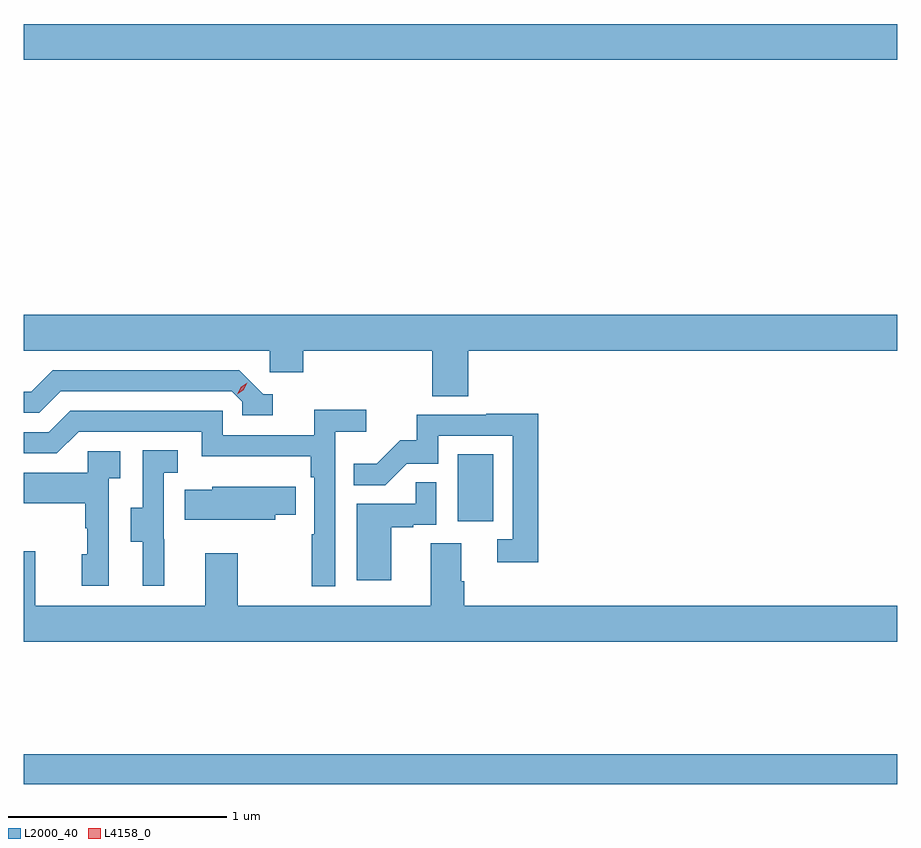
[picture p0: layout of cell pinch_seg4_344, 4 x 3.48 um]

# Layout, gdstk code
import gdstk
lib = gdstk.Library(unit=1e-6, precision=1e-09)
def R(c, l, rs):  # rectangles x0, y0, x1, y1
    for r in rs: c.add(gdstk.rectangle(r[:2], r[2:], *l))
def P(c, l, *ps):  # polygons
    for p in ps: c.add(gdstk.Polygon(p, *l))
L2000_40 = (2000, 40)
L4158_0 = (4158, 0)

pinch_seg4_344 = lib.new_cell('pinch_seg4_344')
R(pinch_seg4_344, L2000_40, [(1004.977,794.836,1008.977,794.972), (1006.964,796.038,1007.128,796.345), (1004.977,798.152,1008.977,798.316)])
P(pinch_seg4_344, L2000_40, [(1007.012,796.82),(1008.977,796.82),(1008.977,796.984),(1004.977,796.984),(1004.977,796.82),(1006.104,796.82),(1006.104,796.722),(1006.256,796.722),(1006.256,796.82),(1006.847,796.82),(1006.847,796.612),(1007.012,796.612)],
  [(1006.117,796.62),(1006.074,796.62),(1005.963,796.731),(1005.11,796.731),(1005.011,796.632),(1004.977,796.632),(1004.977,796.536),(1005.048,796.536),(1005.147,796.635),(1005.93,796.635),(1005.978,796.587),(1005.978,796.524),(1006.117,796.524)],
  [(1006.404,796.448),(1006.546,796.448),(1006.546,796.55),(1006.307,796.55),(1006.307,796.434),(1005.888,796.434),(1005.888,796.545),(1005.191,796.545),(1005.092,796.446),(1004.977,796.446),(1004.977,796.35),(1005.129,796.35),(1005.228,796.449),(1005.792,796.449),(1005.792,796.337),(1006.291,796.337),(1006.291,796.241),(1006.308,796.241),(1006.308,795.98),(1006.296,795.98),(1006.296,795.741),(1006.404,795.741)],
  [(1007.333,796.532),(1007.095,796.532),(1007.095,796.527),(1006.777,796.527),(1006.777,796.41),(1006.7,796.41),(1006.593,796.303),(1006.489,796.303),(1006.489,796.204),(1006.633,796.204),(1006.731,796.302),(1006.875,796.302),(1006.875,796.431),(1007.217,796.431),(1007.217,795.957),(1007.145,795.957),(1007.145,795.852),(1007.333,795.852)],
  [(1005.62,795.957),(1005.618,795.957),(1005.618,796.261),(1005.682,796.261),(1005.682,796.364),(1005.522,796.364),(1005.522,796.101),(1005.467,796.101),(1005.467,795.946),(1005.521,795.946),(1005.521,795.744),(1005.62,795.744)],
  [(1005.366,796.235),(1005.418,796.235),(1005.418,796.359),(1005.27,796.359),(1005.27,796.261),(1004.977,796.261),(1004.977,796.121),(1005.258,796.121),(1005.258,796.007),(1005.268,796.007),(1005.268,795.888),(1005.242,795.888),(1005.242,795.744),(1005.366,795.744)],
  [(1006.66,796.011),(1006.76,796.011),(1006.76,796.023),(1006.866,796.023),(1006.866,796.217),(1006.771,796.217),(1006.771,796.119),(1006.502,796.119),(1006.502,795.768),(1006.66,795.768)],
  [(1006.129,796.069),(1006.223,796.069),(1006.223,796.197),(1006.112,796.197),(1006.112,796.198),(1005.84,796.198),(1005.84,796.183),(1005.715,796.183),(1005.715,796.046),(1006.129,796.046)],
  [(1008.977,795.652),(1006.994,795.652),(1006.994,795.764),(1006.981,795.764),(1006.981,795.938),(1006.841,795.938),(1006.841,795.652),(1005.957,795.652),(1005.957,795.892),(1005.809,795.892),(1005.809,795.652),(1005.029,795.652),(1005.029,795.901),(1004.977,795.901),(1004.977,795.488),(1008.977,795.488)])
P(pinch_seg4_344, L4158_0, [(1005.955,796.62),(1005.955,796.621),(1005.97,796.653),(1006,796.674),(1006,796.674),(1006,796.673),(1005.985,796.641),(1005.955,796.62)])

lib.write_gds('pinch_seg4_344.gds')
